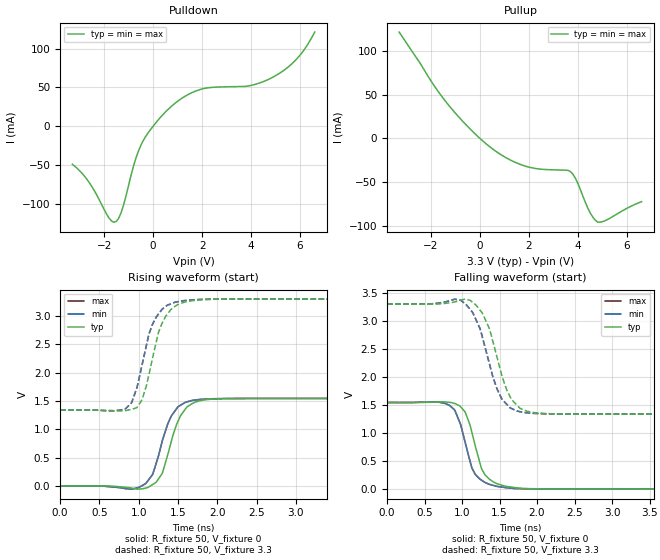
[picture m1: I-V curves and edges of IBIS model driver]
| IBIS file ex2_nomiller_probe.ibs created by PYS2IBIS3
| Missouri S&T EMC Lab
[IBIS Ver] 7.1
[File Name] ex2_nomiller_probe.ibs
[File Rev] 1.0
[Date] July 28, 2026
[Source] ex2 variant nomiller -- n4->out Miller caps removed
[Notes] Observation pass for parameter selection.
[Disclaimer] Experimental characterization for pybis observability study.
[Component] MCM Driver 1
[Manufacturer] MegaFLOPS Inc.
[Package]
| variable   typ   min   max
R_pkg 0 NA NA
L_pkg 0H NA NA
C_pkg 0F NA NA
[Pin]  signal_name   model_name   R_pin   L_pin   C_pin
vdd   vdd   POWER
gnd   gnd   GND
| in in dummy
out   out   driver
| End of Component
| Models and submodels in the file (1): driver (Output)
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[Model] driver
Model_type Output
Polarity Non-Inverting
Enable Active-Low
Vinl  = 0.8V
Vinh  = 2V
C_comp 5.0000pF 5.0000pF 5.0000pF
[Temperature Range] 27.0000 27.0000 27.0000
[Voltage Range] 3.3000V 3.3000V 3.3000V
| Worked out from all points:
|   slope of the pulldown table from 0 to 0.495 V, typ, clamps not added: 27.4 ohm
|   slope of the pullup table from 0 to 0.495 V, typ, clamps not added: 42.7 ohm
|   rising waveform, R_fixture 50, V_fixture 0: 20-80 % time 212ps typ, 214ps min, 214ps max; typ from 0 V to 1.54 V
|   rising waveform, R_fixture 50, V_fixture 3.3: 20-80 % time 221ps typ, 219ps min, 219ps max; typ from 1.34 V to 3.3 V
|   falling waveform, R_fixture 50, V_fixture 0: 20-80 % time 202ps typ, 203ps min, 203ps max; typ from 1.54 V to 0 V
|   falling waveform, R_fixture 50, V_fixture 3.3: 20-80 % time 262ps typ, 261ps min, 261ps max; typ from 3.3 V to 1.34 V
[Pulldown]
| Voltage   I(typ)   I(min)   I(max)
-3.3V     -48.93mA   -48.93mA   -48.93mA
-2.6V     -72.86mA   -72.86mA   -72.86mA
-1.8V     -118.2mA   -118.2mA   -118.2mA
-1.5V     -122.5mA   -122.5mA   -122.5mA
-1.3V     -110.9mA   -110.9mA   -110.9mA
-500mV    -24.59mA   -24.59mA   -24.59mA
600mV     21.34mA    21.34mA    21.34mA
1.9V      47.12mA    47.12mA    47.12mA
3.9V      51.99mA    51.99mA    51.99mA
4.9V      63.38mA    63.38mA    63.38mA
5.9V      87.99mA    87.99mA    87.99mA
6.6V      121.3mA    121.3mA    121.3mA
[Pullup]
| Voltage   I(typ)   I(min)   I(max)
-3.3V     122mA      122mA      122mA
-1.9V     61.75mA    61.75mA    61.75mA
-1.3V     38.86mA    38.86mA    38.86mA
-200mV    5.278mA    5.278mA    5.278mA
700mV     -15.75mA   -15.75mA   -15.75mA
2V        -32.92mA   -32.92mA   -32.92mA
3.7V      -38.24mA   -38.24mA   -38.24mA
3.9V      -45.89mA   -45.89mA   -45.89mA
4.5V      -85.43mA   -85.43mA   -85.43mA
4.8V      -95.97mA   -95.97mA   -95.97mA
5.1V      -94.48mA   -94.48mA   -94.48mA
6.6V      -72.53mA   -72.53mA   -72.53mA
[Ramp]
| variable   typ   min   max
dV/dt_r 0.9270/0.2115n 0.9270/0.2131n 0.9270/0.2131n
dV/dt_f 1.1772/0.2614n 1.1772/0.2605n 1.1772/0.2605n
R_load = 50
[Rising Waveform]
R_fixture = 50
V_fixture = 0
|time   V(typ)   V(min)   V(max)
0s        7.302nV    7.302nV    7.302nV
912.9ps   -38.74mV   -56.89mV   -56.89mV
1.121ns   -23.85mV   98.48mV    98.48mV
1.177ns   24.64mV    202.8mV    202.8mV
1.297ns   215.4mV    780.6mV    780.6mV
1.417ns   804mV      1.24V      1.24V
1.538ns   1.25V      1.43V      1.43V
1.618ns   1.399V     1.486V     1.486V
1.754ns   1.494V     1.524V     1.524V
8ns       1.545V     1.545V     1.545V
[Rising Waveform]
R_fixture = 50
V_fixture = 3.3
|time   V(typ)   V(min)   V(max)
0s        1.338V     1.338V     1.338V
824.8ps   1.329V     1.358V     1.358V
912.9ps   1.354V     1.48V      1.48V
977ps     1.382V     1.733V     1.733V
1.097ns   1.764V     2.483V     2.483V
1.217ns   2.507V     2.968V     2.968V
1.257ns   2.731V     3.046V     3.046V
1.345ns   2.999V     3.172V     3.172V
1.554ns   3.232V     3.268V     3.268V
8ns       3.3V       3.3V       3.3V
[Falling Waveform]
R_fixture = 50
V_fixture = 0
|time   V(typ)   V(min)   V(max)
0s        1.545V     1.545V     1.545V
760.8ps   1.557V     1.535V     1.535V
896.9ps   1.531V     1.419V     1.419V
969ps     1.486V     1.192V     1.192V
1.049ns   1.349V     786.2mV    786.2mV
1.129ns   1.024V     386.7mV    386.7mV
1.177ns   766mV      262.3mV    262.3mV
1.305ns   256.4mV    120.2mV    120.2mV
1.554ns   61.38mV    31.67mV    31.67mV
8ns       1.673uV    973.6nV    973.6nV
[Falling Waveform]
R_fixture = 50
V_fixture = 3.3
|time   V(typ)   V(min)   V(max)
0s        3.3V       3.3V       3.3V
904.9ps   3.339V     3.388V     3.388V
1.113ns   3.362V     3.197V     3.197V
1.241ns   3.189V     2.859V     2.859V
1.361ns   2.872V     2.251V     2.251V
1.522ns   2.071V     1.629V     1.629V
1.658ns   1.601V     1.439V     1.439V
1.81ns    1.421V     1.37V      1.37V
2.483ns   1.339V     1.339V     1.339V
8ns       1.338V     1.338V     1.338V
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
